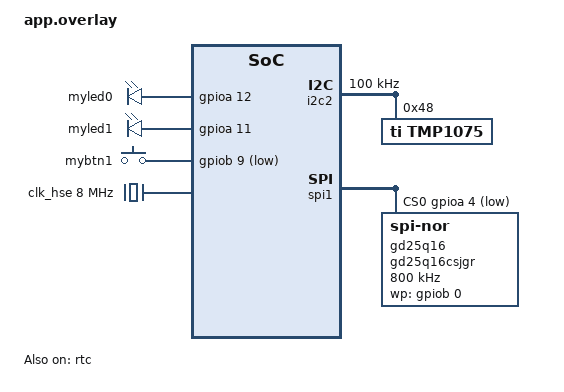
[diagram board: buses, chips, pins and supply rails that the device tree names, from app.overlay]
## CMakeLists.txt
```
# SPDX-License-Identifier: Apache-2.0

cmake_minimum_required(VERSION 3.20.0)
find_package(Zephyr REQUIRED HINTS $ENV{ZEPHYR_BASE})
project(blinky)

target_sources(app PRIVATE src/main.c 
                            src/sensor_manager.c
                            src/time_service.c
                            src/telemetry_service.c
                            src/flash_manager.c
                            src/command_handler.c
                            src/temperature_logger_controller.c)
```

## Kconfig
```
source "Kconfig.zephyr"

# Firmware Version Configuration
config TL_FW_VER_MAJOR
    int "Firmware major version"
    default 0

config TL_FW_VER_MINOR
    int "Firmware minor version"
    default 1

config TL_FW_VER_REV
    int "Firmware revision"
    default 0

# Hardware Version Configuration
config TL_HW_VER_MAJOR
    int "Hardware major version"
    default 0

config TL_HW_VER_MINOR
    int "Hardware minor version"
    default 1

config TL_HW_VER_REV
    int "Hardware revision"
    default 0
```

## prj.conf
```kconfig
CONFIG_GPIO=y
CONFIG_I2C=y
CONFIG_SENSOR=y
CONFIG_CBPRINTF_FP_SUPPORT=y
CONFIG_RTC=y
CONFIG_RTC_ALARM=y
CONFIG_MAIN_STACK_SIZE=1536
CONFIG_FLASH=y

CONFIG_LOG=y
CONFIG_LOG_DEFAULT_LEVEL=3
CONFIG_SERIAL=y
CONFIG_UART_INTERRUPT_DRIVEN=y

# Firmware Version information
CONFIG_TL_FW_VER_MAJOR=0
CONFIG_TL_FW_VER_MINOR=1
CONFIG_TL_FW_VER_REV=0

# Hardware Version information
CONFIG_TL_HW_VER_MAJOR=0
CONFIG_TL_HW_VER_MINOR=1
CONFIG_TL_HW_VER_REV=0
```

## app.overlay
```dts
/ {
    chosen {
		zephyr,console = &usart1;
		zephyr,shell-uart = &usart1;
	};

    aliases {
        led0 = &myled0;
        led1 = &myled1;

        btn1 = &mybtn1;

        rtc1 = &rtc;

        telemetry-uart = &usart1;
    };

    leds {
        compatible = "gpio-leds";
        myled0: led_0 {
            gpios = <&gpioa 12 GPIO_ACTIVE_HIGH>;
        };
        myled1: led_1 {
            gpios = <&gpioa 11 GPIO_ACTIVE_HIGH>;
        };
    };      

    gpio_keys {
		compatible = "gpio-keys";
		mybtn1: btn_1 {
			gpios = <&gpiob 9 GPIO_ACTIVE_LOW>;
			zephyr,code = <INPUT_KEY_0>;
		};
	};

    mco: mco {
        status = "okay";
        compatible = "st,stm32-clock-mco";
        clocks = <&rcc STM32_SRC_LSE MCO1_SEL(3)>;
        prescaler = <MCO1_PRE(0)>;
        pinctrl-0 = <&rcc_mco_pa8>;
        pinctrl-names = "default";
    };
};

&clk_lsi {
    status = "okay";
};

&clk_lse {
    status = "okay";
};

&clk_hse {
    status = "okay";
    /delete-property/hse-bypass;
	clock-frequency = <DT_FREQ_M(8)>;
};

&i2c2 {
    status = "okay";
    clock-frequency = <I2C_BITRATE_STANDARD>;
    tmp1075@48 {
        compatible = "ti,tmp1075";
        reg = <0x48>;
        conversion-rate = <220000>;
        consecutive-fault-measurements = <4>;
    };
};
&spi1 {
    cs-gpios = <&gpioa 4 (GPIO_ACTIVE_LOW | GPIO_PULL_UP)>;
    gd25q16: gd25q16csjgr@0 {
        status = "okay";
        compatible = "jedec,spi-nor";
        /* 134217728 bits = 16 Mbytes */
		size = <0x1000000>;
        reg = <0x00>;
        spi-max-frequency = <800000>;
        jedec-id = [c8 40 15];
        wp-gpios = <&gpiob 0 (GPIO_ACTIVE_HIGH | GPIO_PULL_UP)>;
    };
};

&rtc {
    status = "okay";
    clock-frequency = <32768>;
    prescaler = <1>;
    clocks = <&rcc STM32_CLOCK(APB1, 28U)>,
            <&rcc STM32_SRC_LSE RTC_SEL(1)>;
};
```

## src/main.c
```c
#include <stdio.h>
#include <zephyr/kernel.h>
#include <zephyr/logging/log.h>
#include <zephyr/drivers/gpio.h>

#include <zephyr/drivers/sensor.h>

#include <zephyr/device.h>
#include <zephyr/drivers/rtc.h>
#include <zephyr/sys/util.h>

#include <zephyr/drivers/flash.h>

#include "sensor_manager.h"
#include "time_service.h"
#include "telemetry_service.h"
#include "flash_manager.h"
#include "command_handler.h"
#include "temperature_logger_controller.h"

LOG_MODULE_REGISTER(main);


/* 1000 msec = 1 sec */
#define SLEEP_TIME_MS   1000

/* The devicetree node identifier for the "led0" alias. */
#define LED1_NODE DT_ALIAS(led1)
#define BTN1_NODE DT_ALIAS(btn1)

/*
 * A build error on this line means your board is unsupported.
 * See the sample documentation for information on how to fix this.
 */

static const struct gpio_dt_spec led1 = GPIO_DT_SPEC_GET(LED1_NODE, gpios);
static const struct gpio_dt_spec btn1 = GPIO_DT_SPEC_GET(BTN1_NODE, gpios);

const struct device *const dev = DEVICE_DT_GET_ONE(ti_tmp1075);
const struct device *const flash_dev = DEVICE_DT_GET_ONE(jedec_spi_nor);

const struct device *const rtc1 = DEVICE_DT_GET(DT_ALIAS(rtc1));

const struct device *const mco = DEVICE_DT_GET(DT_NODELABEL(mco));
const struct device *const telemetry_uart = DEVICE_DT_GET(DT_ALIAS(telemetry_uart));


void hard_fault(void);
void board_init(void);
void print_logs(void);

void hard_fault(void)
{
	LOG_ERR("HARD FAULT");
	while(1)
	{
		k_msleep(SLEEP_TIME_MS);
	}
}
void board_init(void)
{
	int ret;

	if (!gpio_is_ready_dt(&led1)) {
		LOG_ERR("Device is not ready");
		hard_fault();
	}
	if (!gpio_is_ready_dt(&btn1)) {
		LOG_ERR("Device is not ready");
		hard_fault();
	}

	if (!device_is_ready(mco)) {
		LOG_ERR("MCO1 device not ready");
		hard_fault();
	}

	ret = gpio_pin_configure_dt(&led1, GPIO_OUTPUT_ACTIVE);
	if (ret < 0) {
		LOG_ERR("Device is not ready");
		hard_fault();
	}

	ret = gpio_pin_configure_dt(&btn1, GPIO_INPUT);
	if (ret < 0) {
		LOG_ERR("Device is not ready");
		hard_fault();
	}

	if(!sensor_manager_init(dev))
	{
		hard_fault();
	}

	if(!time_service_init(rtc1))
	{
		hard_fault();
	}
	telemetry_service_init(telemetry_uart);

	if(!flash_manager_init(flash_dev))
	{
		hard_fault();
	}

	command_handler_init();

	temperature_logger_controller_init();
	temperature_logger_controller_start();

}

int main(void)
{
	int ret;
	bool led_state = true;
	
	board_init();

	gpio_pin_set_dt(&led1, 0);

	while (1) {
		k_msleep(SLEEP_TIME_MS);
	}
	return 0;
}
```

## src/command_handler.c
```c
#include <zephyr/kernel.h>
#include <zephyr/logging/log.h>
#include "command_handler.h"
#include "telemetry_service.h"
#include "time_service.h"
#include "sensor_manager.h"
#include "temperature_logger_controller.h"

LOG_MODULE_REGISTER(cmd_Handler);

static void stream_logs(void);

static struct rtc_time tm = {0};

enum eCMDs
{
	eFW_VER = 0x01,
	eHW_VER,
	eSET_TIME,
	eGET_TIME,
	eCPU_TEMP,
	eTEMP,
	eSET_LOG_INTERVAL,
    eGET_LOG_INTERVAL,
    eSTREAM_LOGS,
    eSTART_NEW_LOG
};

static void command_handler_process(const telemetry_msg *msg)
{
    telemetry_msg response_msg;
    response_msg.cmd = msg->cmd;
    response_msg.len = 0; // Default length is 0

    // Process the telemetry message
    LOG_INF("Message received: cmd=0x%02X, len=%d", msg->cmd, msg->len);
    switch (msg->cmd)
    {
    case eFW_VER :
        LOG_INF("Firmware Version: %d.%d.%d", CONFIG_TL_FW_VER_MAJOR, CONFIG_TL_FW_VER_MINOR, CONFIG_TL_FW_VER_REV);
        response_msg.len = 3;
        response_msg.data[0] = CONFIG_TL_FW_VER_MAJOR;
        response_msg.data[1] = CONFIG_TL_FW_VER_MINOR;
        response_msg.data[2] = CONFIG_TL_FW_VER_REV;
        break;
    case eHW_VER :
        LOG_INF("Hardware Version: %d.%d.%d", CONFIG_TL_HW_VER_MAJOR, CONFIG_TL_HW_VER_MINOR, CONFIG_TL_HW_VER_REV);
        response_msg.len = 3;
        response_msg.data[0] = CONFIG_TL_HW_VER_MAJOR;
        response_msg.data[1] = CONFIG_TL_HW_VER_MINOR;
        response_msg.data[2] = CONFIG_TL_HW_VER_REV;
        break;
    case eSET_TIME :
        LOG_INF("Set Time Command");
        memset(&tm, 0, sizeof(tm));

        tm.tm_year = msg->data[0] + 100;
        tm.tm_mon = msg->data[1] - 1;
        tm.tm_mday = msg->data[2];
        tm.tm_hour = msg->data[3];
        tm.tm_min = msg->data[4];
        tm.tm_sec = msg->data[5];

        time_service_set_date_time(&tm);
        break;
    case eGET_TIME :
        
        memset(&tm, 0, sizeof(tm));
        time_service_get_date_time(&tm);

        LOG_INF("Get Time Command: %04d-%02d-%02d %02d:%02d:%02d", tm.tm_year + 1900,
	       tm.tm_mon + 1, tm.tm_mday, tm.tm_hour, tm.tm_min, tm.tm_sec);
        
        response_msg.len = 6;
        response_msg.data[0] = tm.tm_year - 100;
        response_msg.data[1] = tm.tm_mon; // Month (1-12)
        response_msg.data[2] = tm.tm_mday; // Day of the month (1-31)
        response_msg.data[3] = tm.tm_hour; // Hour (0-23)
        response_msg.data[4] = tm.tm_min; // Minute (0-59)
        response_msg.data[5] = tm.tm_sec; // Second (0-59)

        break;
    case eCPU_TEMP :
        LOG_INF("CPU Temp Command");
        break;
    case eTEMP :
        struct sensor_value temp;
        sensor_manager_read(&temp);
        LOG_INF("Temperature Command: %.2f", sensor_value_to_double(&temp));
        response_msg.len = 8;
        response_msg.data[0] = temp.val1 >> 24;
        response_msg.data[1] = (temp.val1 >> 16) & 0xFF;
        response_msg.data[2] = (temp.val1 >> 8) & 0xFF;
        response_msg.data[3] = temp.val1 & 0xFF;
        response_msg.data[4] = (temp.val2 >> 24) & 0xFF;
        response_msg.data[5] = (temp.val2 >> 16) & 0xFF;
        response_msg.data[6] = (temp.val2 >> 8) & 0xFF;
        response_msg.data[7] = temp.val2 & 0xFF;

        break;
    case eSET_LOG_INTERVAL :
        uint16_t log_interval = (msg->data[0] << 8) | msg->data[1]; // Combine two bytes into a uint16_t
        LOG_INF("Set Log Interval Command");
        temperature_logger_controller_set_log_interval(log_interval); // Combine two bytes into a uint16_t
        break;
    case eGET_LOG_INTERVAL :
        LOG_INF("Get Log Interval Command");
        uint16_t current_log_interval = 0;
        current_log_interval = temperature_logger_controller_get_log_interval();
        response_msg.len = 2;
        response_msg.data[0] = (current_log_interval >> 8) & 0xFF; // High byte
        response_msg.data[1] = current_log_interval & 0xFF; // Low byte
        break;
    case eSTREAM_LOGS :
        LOG_INF("Stream Logs Command");
        stream_logs();
        break;
    case eSTART_NEW_LOG :
        LOG_INF("Start New Log Command");
        temperature_logger_controller_start_new_log();
        break;
    default:
        break;
    }
    
    telemetry_service_response(&response_msg);
}

static void stream_logs(void)
{
    telemetry_msg response_msg;
    tempLog temperatureLog;
    int index = 0;

    response_msg.cmd = eSTREAM_LOGS;
    response_msg.len = 15;

    index = flash_manager_get_index();

	for(uint32_t x = 0; x < index; x++)
	{
		flash_manager_read((uint8_t *)&temperatureLog, x);
		if(temperatureLog.magicWord == TEMP_LOG_MAGIC_WORD)
		{
            response_msg.data[0] = temperatureLog.time.tm_year - 100; // Year - 2000
            response_msg.data[1] = temperatureLog.time.tm_mon + 1;
            response_msg.data[2] = temperatureLog.time.tm_mday;
            response_msg.data[3] = temperatureLog.time.tm_hour;
            response_msg.data[4] = temperatureLog.time.tm_min;
            response_msg.data[5] = temperatureLog.time.tm_sec;
            response_msg.data[6] = 0x00; // Type
            response_msg.data[7] = temperatureLog.temp.val1 >> 24;
            response_msg.data[8] = (temperatureLog.temp.val1 >> 16) & 0xFF;
            response_msg.data[9] = (temperatureLog.temp.val1 >> 8) & 0xFF;
            response_msg.data[10] = temperatureLog.temp.val1 & 0xFF;
            response_msg.data[11] = (temperatureLog.temp.val2 >> 24) & 0xFF;
            response_msg.data[12] = (temperatureLog.temp.val2 >> 16) & 0xFF;
            response_msg.data[13] = (temperatureLog.temp.val2 >> 8) & 0xFF;
            response_msg.data[14] = temperatureLog.temp.val2 & 0xFF;

            telemetry_service_response(&response_msg);
            k_msleep(50); // Small delay to ensure the message is sent before sending the next one
		}
		else
		{
			LOG_INF(".");
			break;
		}
	}
}

void command_handler_init(void)
{
    telemetry_service_set_message_callback(command_handler_process);
}
```

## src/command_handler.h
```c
#ifndef COMMAND_HANDLER_H
#define COMMAND_HANDLER_H

void command_handler_init(void);

#endif
```

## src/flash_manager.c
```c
#include "flash_manager.h"
#include <zephyr/kernel.h>
#include <zephyr/device.h>
#include <zephyr/logging/log.h>
#include <zephyr/pm/device.h>
#include <zephyr/drivers/flash.h>

LOG_MODULE_REGISTER(flash_manager);

static flash_manager_header header = {0};
static const struct device * flash_dev = NULL;

int flash_manager_init(const struct device * dev)
{
    int ret;
    flash_dev = dev;
    if (!device_is_ready(flash_dev)) {
		LOG_ERR("Device not ready");
		return 0;
	}

    ret = flash_read(flash_dev, FLASH_MANAGER_HEADER_ADDRESS, &header, FLASH_MANAGER_HEADER_SIZE);
    if(ret != 0)
    {
        LOG_ERR("Read failed");
        return 0;
    }

    if(header.magicWord != FLASH_MANAGER_MAGIC_WORD)
	{
        LOG_INF("Magic word not found!!");
        flash_manager_erase();
    }
    else
    {
		LOG_INF("Index = %d",header.index);
    }

    return 1;
}
int flash_manager_erase(void)
{
    LOG_INF("Formating");
    flash_erase(flash_dev, FLASH_MANAGER_HEADER_ADDRESS, FLASH_MANAGER_ERASE_SIZE);
    header.magicWord = FLASH_MANAGER_MAGIC_WORD;
    header.index = 0x00;
    flash_write(flash_dev, FLASH_MANAGER_HEADER_ADDRESS, &header, FLASH_MANAGER_ERASE_SIZE);
}

int flash_manager_write(uint8_t * data, uint32_t len)
{
    uint32_t address = 0;

    /* Read current flash manager header index */
    flash_read(flash_dev, FLASH_MANAGER_HEADER_ADDRESS, &header, FLASH_MANAGER_HEADER_SIZE);

    address = FLASH_MANAGER_START_ADDRESS + (header.index * FLASH_MANAGER_LOG_SIZE);

    /* Validate address overflow */
	if(address >= FLASH_MANAGER_LOG_CAPACITY)
	{
		address = FLASH_MANAGER_START_ADDRESS;
		header.index = 0;
	}

    /* Check if sector start address*/
	if(address % FLASH_MANAGER_ERASE_SIZE == 0)
	{
		LOG_INF("Erasing sector at address %d ", address);
        flash_erase(flash_dev, address, FLASH_MANAGER_ERASE_SIZE);
	}

    /* Writing log to memory */
	LOG_INF("Log at 0x%04X\n",address);
	flash_write(flash_dev, address, data, len);

    /* Save header */
	header.index++;
	flash_erase(flash_dev, FLASH_MANAGER_HEADER_ADDRESS, FLASH_MANAGER_ERASE_SIZE);
	flash_write(flash_dev, FLASH_MANAGER_HEADER_ADDRESS, &header, FLASH_MANAGER_HEADER_SIZE);

    return 1;
}

int flash_manager_read(uint8_t *  data, uint32_t index)
{
    int address = 0;

    address = FLASH_MANAGER_START_ADDRESS + (index * FLASH_MANAGER_LOG_SIZE);

    flash_read(flash_dev, address, data, FLASH_MANAGER_LOG_SIZE);

    return 1;
}

int flash_manager_get_index(void)
{
    /* Read current flash manager header index */
    flash_read(flash_dev, FLASH_MANAGER_HEADER_ADDRESS, &header, FLASH_MANAGER_HEADER_SIZE);
    return header.index;
}

int flash_manager_suspend(void)
{
    int ret;
    ret = pm_device_action_run(flash_dev, PM_DEVICE_ACTION_SUSPEND);
    if (ret < 0)
    {
        LOG_ERR("Unable to suspend SPI NOR flash. (err: %d)", ret);
        return ret;
    }
    return 0;
}
int flash_manager_resume(void)
{
    int ret;
    ret = pm_device_action_run(flash_dev, PM_DEVICE_ACTION_RESUME);
    if (ret < 0)
    {
        LOG_ERR("Unable to resume SPI NOR flash. (err: %d)", ret);
        return ret;
    }
}
```

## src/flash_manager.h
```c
#ifndef FLASH_MANAGER_H
#define FLASH_MANAGER_H

#include <zephyr/device.h>

#define FLASH_MANAGER_MAGIC_WORD        0xBADDCAFE

#define FLASH_MANAGER_LOG_CAPACITY      0x00200000 /* 2MBytes */
#define FLASH_MANAGER_HEADER_ADDRESS    0x00000000
#define FLASH_MANAGER_HEADER_SIZE       sizeof(flash_manager_header)
#define FLASH_MANAGER_START_ADDRESS     0x00001000
#define FLASH_MANAGER_ERASE_SIZE        0x00001000
#define FLASH_MANAGER_LOG_SIZE          0x40 /* 64 Bytes */
#define FLASH_MANAGER_MAX_LOGS          ((FLASH_MANAGER_LOG_CAPACITY - FLASH_MANAGER_START_ADDRESS) / FLASH_MANAGER_HEADER_SIZE)

typedef struct 
{
	uint32_t magicWord;
	uint32_t index;
}flash_manager_header;

int flash_manager_init(const struct device * dev);
int flash_manager_erase(void);
int flash_manager_write(uint8_t *  data, uint32_t len);
int flash_manager_read(uint8_t *  data, uint32_t index);
int flash_manager_get_index(void);
int flash_manager_suspend(void);
int flash_manager_resume(void);


#endif
```

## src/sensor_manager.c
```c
#include "sensor_manager.h"

#include <stdio.h>
#include <zephyr/drivers/sensor.h>
#include <zephyr/logging/log.h>

LOG_MODULE_REGISTER(sensor_manager);

static const struct device * temp_dev = NULL;

int sensor_manager_init(const struct device * dev)
{
	temp_dev = dev;
    if (!device_is_ready(temp_dev)) {
		LOG_ERR("sensor: device not ready.");
		return 0;
	}
    return 1;
}

int sensor_manager_read(struct sensor_value * temp)
{
    int ret;
	
	ret = sensor_sample_fetch(temp_dev);
	if (ret) {
		LOG_ERR("sensor_sample_fetch failed ret %d\n", ret);
		return 1;
	}

	ret = sensor_channel_get(temp_dev, SENSOR_CHAN_AMBIENT_TEMP, temp);
	if (ret) {
		LOG_ERR("sensor_channel_get failed ret %d\n", ret);
		return 1;
	}

	LOG_INF("Temperature: %.2f C", sensor_value_to_double(temp));

    return 0;
}
```

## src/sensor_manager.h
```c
#ifndef SENSOR_MANAGER_H
#define SENSOR_MANAGER_H

#include <zephyr/device.h>
#include <zephyr/drivers/sensor.h>

int sensor_manager_init(const struct device * dev);

int sensor_manager_read(struct sensor_value * temp);

#endif
```

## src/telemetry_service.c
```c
#include "telemetry_service.h"
#include <zephyr/kernel.h>
#include <zephyr/device.h>
#include <zephyr/drivers/uart.h>
#include <zephyr/logging/log.h>
#include <zephyr/sys/ring_buffer.h>

LOG_MODULE_REGISTER(telemetry);
K_MSGQ_DEFINE(telemetry_service_msgq, sizeof(uint8_t), 64, 1);

#define TELEMETRY_SERVICE_STACKSIZE 1024
#define TELEMETRY_SERVICE_PRIORITY 7
#define TELEMETRY_SERVICE_THREAD_INIT_DELAY 1000

#define SYNC_BYTE 0x7E


struct device * uart;

enum eTelemetryState
{
	eSYNC_1 = 0,
	eSYNC_2,
	eCMD,
	eDATA_LEN,
	eDATA,
	eCRC_1,
	eCRC_2
};

static telemetry_msg rxMsg = {0};

static uint8_t tx_buff[2 + sizeof(telemetry_msg) + 2] = {0};
static uint16_t tx_len = 0;
struct ring_buf tx_ringbuf;

static telemetry_service_message_callback message_callback = NULL;

/* Private functions  */
static void serial_cb(const struct device *dev, void *user_data);
static void telemetry_service_byte_feed(uint8_t rxByte);
static void telemetry_service(void);

static void serial_cb(const struct device *dev, void *user_data)
{
	uint8_t c;
	
	while (uart_irq_update(dev) && uart_irq_is_pending(dev)) 
	{
		if(uart_irq_rx_ready(dev)) 
		{
			// Read data from the UART
			if (uart_fifo_read(dev, &c, 1) == 1) {
				k_msgq_put(&telemetry_service_msgq, &c, K_NO_WAIT);
			}
			continue;
		}
		if (uart_irq_tx_ready(dev)) {

			int rb_len;
			rb_len = ring_buf_get(&tx_ringbuf, &c, 1);
			if (!rb_len) {
				LOG_DBG("Ring buffer empty, disable TX IRQ");
				uart_irq_tx_disable(dev);
				continue;
			}
			uart_fifo_fill(dev, &c, rb_len);
		}
	}
}

static void telemetry_service_byte_feed(uint8_t rxByte)
{
    static uint8_t telemetryState = 0;
    static uint16_t dataIndex = 0;
    static uint16_t dataLen = 0;
    switch(telemetryState)
	{
		case eSYNC_1:
			if(rxByte == SYNC_BYTE)
			{
				telemetryState = eSYNC_2;
			}
			break;
		case eSYNC_2:
			if(rxByte == SYNC_BYTE)
			{
				telemetryState = eCMD;
			}
			else
			{
				telemetryState = eSYNC_1;
			}
			break;
		case eCMD:
			telemetryState = eDATA_LEN;
			rxMsg.cmd = rxByte;
			break;
		case eDATA_LEN:
			dataIndex = 0;
			dataLen = rxByte;
			rxMsg.len = rxByte;
			if(rxByte == 0)
			{
				telemetryState = eCRC_1;
			}
			else
			{
				telemetryState = eDATA;
			}
			break;
		case eDATA:
			rxMsg.data[dataIndex] = rxByte;
			dataIndex++;
			if(dataIndex >= dataLen)
			{
				telemetryState = eCRC_1;
			}
			break;
		case eCRC_1:
			telemetryState = eCRC_2;
			break;
		case eCRC_2:
			telemetryState = eSYNC_1;
			// Check CRC here if needed
			if(message_callback)
			{
				message_callback(&rxMsg);
			}
			break;
		default:
			telemetryState = eSYNC_1;
			break;
	}
}

static void telemetry_service(void)
{
    uint8_t inByte;
    while(1)
    {
        /* Wait for uart rx byte */
        k_msgq_get(&telemetry_service_msgq, &inByte, K_FOREVER);
        telemetry_service_byte_feed(inByte);
    }
}

/* Public funtions*/

void telemetry_service_init(const struct device * uart_dev)
{
    int ret;

    /* Register the async interrupt handler */
    LOG_DBG("Module initialization");

    uart = uart_dev;

    if (!device_is_ready(uart)) {
		LOG_WRN("UART device not found!");
		return 0;
	}

	/* configure interrupt and callback to receive data */
	ret = uart_irq_callback_user_data_set(uart, serial_cb, NULL);
    if(ret != 0)
    {
        LOG_WRN("UART CALLBACK SET: %d",ret);
        return 0;
    }

	ring_buf_init(&tx_ringbuf, sizeof(tx_buff), tx_buff);

    /* Enable reception interrupt */
    uart_irq_rx_enable(uart);

	uart_irq_tx_disable(uart);
}

void telemetry_service_set_message_callback(telemetry_service_message_callback cb)
{
    message_callback = cb;
}

void telemetry_service_response(telemetry_msg * msg)
{
	
	int ret;
	tx_buff[0] = SYNC_BYTE; // Start byte
	tx_buff[1] = SYNC_BYTE; // End byte
	tx_buff[2] = msg->cmd; // Command
	tx_buff[3] = msg->len; // Length
	if (msg->len > 0) {
		memcpy(&tx_buff[4], msg->data, msg->len); // Data
	}
	tx_buff[4 + msg->len] = 0; // CRC placeholder, can be replaced with actual CRC calculation
	tx_buff[5 + msg->len] = 0; // CRC placeholder, can be replaced with actual CRC calculation
	tx_len = 6 + msg->len; // Total length of the message

	ring_buf_put(&tx_ringbuf, tx_buff, tx_len);

	uart_irq_tx_enable(uart); // Enable TX interrupt
}

K_THREAD_DEFINE(telemetry_service_id, TELEMETRY_SERVICE_STACKSIZE, telemetry_service, NULL, NULL, NULL,
    TELEMETRY_SERVICE_PRIORITY, 0, TELEMETRY_SERVICE_THREAD_INIT_DELAY);
```

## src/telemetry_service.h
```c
#ifndef TELEMETRY_SERVICE_H
#define TELEMETRY_SERVICE_H

#include <zephyr/device.h>

#define TELEMETRY_SERVICE_MAX_MESSAGE_SIZE 256

typedef struct
{
	uint8_t cmd;
	uint8_t len;
	uint8_t data[TELEMETRY_SERVICE_MAX_MESSAGE_SIZE];
}telemetry_msg;

typedef void (*telemetry_service_message_callback)(telemetry_msg *msg);

void telemetry_service_init(const struct device * uart_dev);
void telemetry_service_set_message_callback(telemetry_service_message_callback cb);
void telemetry_service_response(telemetry_msg * msg);

#endif
```

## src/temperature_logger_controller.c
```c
#include <zephyr/device.h>
#include <zephyr/drivers/rtc.h>
#include <zephyr/logging/log.h>
#include <zephyr/kernel.h>
#include <zephyr/drivers/sensor.h>
#include <zephyr/drivers/gpio.h>
#include "temperature_logger_controller.h"
#include "time_service.h"
#include "sensor_manager.h"
#include "flash_manager.h"

LOG_MODULE_REGISTER(temp_log_ctl);

#define LED0_NODE DT_ALIAS(led0)
static const struct gpio_dt_spec led0 = GPIO_DT_SPEC_GET(LED0_NODE, gpios);

#define TEMPERATURE_LOGGER_CONTROLLER_STACKSIZE 768
#define TEMPERATURE_LOGGER_CONTROLLER_PRIORITY 7
#define TEMPERATURE_LOGGER_CONTROLLER_THREAD_INIT_DELAY K_MSEC(1000)

K_THREAD_STACK_DEFINE(temp_log_stack, TEMPERATURE_LOGGER_CONTROLLER_STACKSIZE);
static struct k_thread temp_log_thread;
static k_tid_t temp_log_tid = NULL;

bool read_data_flag = false;
tempLogHeader header = {0};
static uint16_t log_interval = 1; // Default log interval in seconds

static void temperature_logger_controller(void);
static void set_next_alarm_time(int16_t interval);

static void time_service_callback(const struct device *dev, uint16_t id, void *user_data)
{
	read_data_flag = true;
}

void temperature_logger_controller_init(void) {
    int ret;

	if (!gpio_is_ready_dt(&led0)) {
		LOG_ERR("Device is not ready");
		hard_fault();
	}

	ret = gpio_pin_configure_dt(&led0, GPIO_OUTPUT_ACTIVE);
	if (ret < 0) {
		LOG_ERR("Device is not ready");
	}

	gpio_pin_set_dt(&led0, 0);

    temp_log_tid = k_thread_create(
        &temp_log_thread,
        temp_log_stack,
        TEMPERATURE_LOGGER_CONTROLLER_STACKSIZE,
        (k_thread_entry_t)temperature_logger_controller,
        NULL, NULL, NULL,
        TEMPERATURE_LOGGER_CONTROLLER_PRIORITY,
        0,
        TEMPERATURE_LOGGER_CONTROLLER_THREAD_INIT_DELAY
    );
    temperature_logger_controller_stop();

	struct rtc_time tm = {
		.tm_year = 2025 - 1900,
		.tm_mon = 4 - 1,
		.tm_mday = 18,
		.tm_hour = 14,
		.tm_min = 57,
		.tm_sec = 0,
	};

	ret = time_service_set_date_time(&tm);
	if (ret < 0) {
		LOG_ERR("Cannot write date time: %d", ret);
		return ret;
	}

    // Set RTC Alarm
	set_next_alarm_time(log_interval);
	time_service_alarm_set_callback(0, time_service_callback, NULL);
}

void temperature_logger_controller_start(void) {
    if (temp_log_tid != NULL) {
        LOG_INF("Starting temperature logger controller thread");
        k_thread_resume(temp_log_tid);
    }
}

void temperature_logger_controller_stop(void) {
    if (temp_log_tid != NULL) {
        LOG_INF("Stopping temperature logger controller thread");
        k_thread_suspend(temp_log_tid);
    }
}

void temperature_logger_controller_set_log_interval(uint16_t interval) {
	LOG_INF("Setting log interval to %u min", interval);
	log_interval = interval;
	set_next_alarm_time(log_interval);
}

uint16_t temperature_logger_controller_get_log_interval(void) {
	LOG_INF("Getting log interval: %u min", log_interval);
	return log_interval;
}

void temperature_logger_controller_start_new_log(void) {
	LOG_INF("Starting new log");
	flash_manager_erase();
}

static void temperature_logger_controller(void)
{
    tempLog temperatureLog;

	time_service_get_date_time(&temperatureLog.time);
	sensor_manager_read(&temperatureLog.temp);

    while (1) {
		if(read_data_flag)
		{
            LOG_INF("Read data flag set, logging temperature data");
			flash_manager_resume();
			gpio_pin_set_dt(&led0, 1);
			read_data_flag = false;
			set_next_alarm_time(log_interval);
			time_service_get_date_time(&temperatureLog.time);
			sensor_manager_read(&temperatureLog.temp);
			temperatureLog.magicWord = FLASH_MANAGER_MAGIC_WORD;
			flash_manager_write(&temperatureLog, sizeof(tempLog));
			flash_manager_suspend();
			gpio_pin_set_dt(&led0, 0);
		}
		k_msleep(1000);
	}
}

static void set_next_alarm_time(int16_t interval)
{
	struct rtc_time tm_alarm = {
		.tm_year = 0,
		.tm_mon = 0,
		.tm_mday = 0,
		.tm_hour = 0,
		.tm_min = 0,
		.tm_sec = 0,
	};
	time_service_get_date_time(&tm_alarm);
	tm_alarm.tm_min += interval;
	if (tm_alarm.tm_min >= 60) {
		tm_alarm.tm_hour += tm_alarm.tm_min / 60;
		tm_alarm.tm_min %= 60;
	}
	time_service_alarm_set_time(0, RTC_ALARM_TIME_MASK_MINUTE | RTC_ALARM_TIME_MASK_SECOND, &tm_alarm);
}
```

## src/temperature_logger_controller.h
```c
#ifndef TEMPERATURE_LOGGER_CONTROLLER_H
#define TEMPERATURE_LOGGER_CONTROLLER_H

#include <stdint.h>
#include <zephyr/drivers/sensor.h>

typedef struct 
{
	uint32_t magicWord;
	uint32_t index;
}tempLogHeader;

typedef struct 
{
	uint32_t magicWord;
	struct rtc_time time;
	struct sensor_value temp;
}tempLog;

#define TEMP_LOG_HEADER_ADDRESS 0x00000000
#define TEMP_LOG_START_ADDRESS 0x1000
#define TEMP_LOG_ERASE_SIZE 0x1000
#define TEMP_LOG_CAPACITY 0x200000 /* 2MBytes */
#define TEMP_LOG_SIZE sizeof(tempLog)
#define TEMP_LOG_HEADER_SIZE sizeof(tempLogHeader)
#define TEMP_LOG_MAX_LOGS ((TEMP_LOG_CAPACITY - TEMP_LOG_START_ADDRESS) / TEMP_LOG_HEADER_SIZE)
#define TEMP_LOG_MAGIC_WORD 0xBADDCAFE

void temperature_logger_controller_init(void);
void temperature_logger_controller_start(void);
void temperature_logger_controller_stop(void);
void temperature_logger_controller_set_log_interval(uint16_t interval);
uint16_t temperature_logger_controller_get_log_interval(void);
void temperature_logger_controller_start_new_log(void);

#endif
```

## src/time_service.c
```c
#include "time_service.h"
#include <stdio.h>
#include <zephyr/logging/log.h>

LOG_MODULE_REGISTER(time_service);

static const struct device * time_rtc;

static void time_service_callback(const struct device *dev, uint16_t id, void *user_data)
{

}

int time_service_init(const struct device * rtc)
{
    int ret;

	time_rtc = rtc;

	struct rtc_time init_tm = {
		.tm_year = 2025 - 1900,
		.tm_mon = 4 - 1,
		.tm_mday = 18,
		.tm_hour = 14,
		.tm_min = 57,
		.tm_sec = 0,
	};

    // Set RTC Alarm
	struct rtc_time tm = {
		.tm_year = 0,
		.tm_mon = 0,
		.tm_mday = 0,
		.tm_hour = 0,
		.tm_min = 0,
		.tm_sec = 0,
	};

    if (!device_is_ready(time_rtc)) {
		LOG_INF("RTC is not ready\n");
		return 0;
	}

    ret = rtc_set_time(time_rtc, &init_tm);
	if (ret < 0) {
		LOG_INF("Init - Cannot write date time: %d\n", ret);
		return 0;
	}

    ret = rtc_alarm_set_time(time_rtc, 0, RTC_ALARM_TIME_MASK_SECOND, &tm);
    if (ret < 0) {
		LOG_INF("Cannot set alarm: %d\n", ret);
		return 0;
	}

    ret = rtc_alarm_set_callback(time_rtc, 0, time_service_callback, NULL);
    if (ret < 0) {
		LOG_INF("Cannot set alarm callback: %d\n", ret);
		return 0;
	}

    return 1;
}

int time_service_set_date_time( struct rtc_time *tm)
{
	int ret = 0;

	ret = rtc_set_time(time_rtc, tm);
	if (ret < 0) {
		LOG_INF("Cannot write date time: %d\n", ret);
		return ret;
	}
	return ret;
}

int time_service_get_date_time( struct rtc_time *tm)
{
	int ret = 0;

	ret = rtc_get_time(time_rtc, tm);
	if (ret < 0) {
		LOG_INF("Cannot read date time: %d\n", ret);
		return ret;
	}

	LOG_INF("%04d-%02d-%02d %02d:%02d:%02d", tm->tm_year + 1900,
	       tm->tm_mon + 1, tm->tm_mday, tm->tm_hour, tm->tm_min, tm->tm_sec);

	return ret;
}

int time_service_alarm_set_time( uint16_t id, uint16_t mask, const struct rtc_time * timeptr)
{
	int ret = 0;

	ret = rtc_alarm_set_time(time_rtc, id, mask, timeptr);
	if (ret < 0) {
		LOG_INF("Cannot set alarm time: %d\n", ret);
		return ret;
	}

	return ret;
}

int time_service_alarm_set_callback( uint16_t id, rtc_alarm_callback cb, void *user_data)
{
	if (rtc_alarm_set_callback(time_rtc, id, cb, user_data) < 0) {
		LOG_INF("Cannot set alarm callback\n");
		return -1;
	}
	return 0;
}
```

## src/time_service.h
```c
#ifndef TIME_SERVICE_H
#define TIME_SERVICE_H

#include <zephyr/device.h>
#include <zephyr/drivers/rtc.h>

int time_service_init(const struct device * rtc);
int time_service_set_date_time( struct rtc_time *tm);
int time_service_get_date_time( struct rtc_time *tm);
int time_service_alarm_set_time( uint16_t id, uint16_t mask, const struct rtc_time * timeptr);
int time_service_alarm_set_callback( uint16_t id, rtc_alarm_callback cb, void *user_data);

#endif
```
